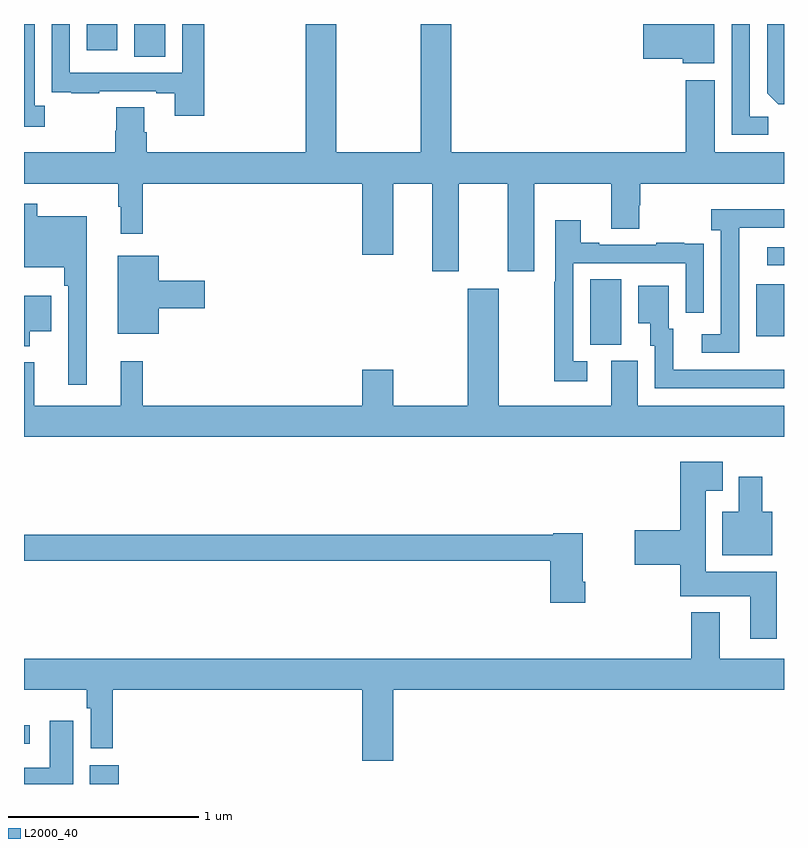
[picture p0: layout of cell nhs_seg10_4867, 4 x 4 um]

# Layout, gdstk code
import gdstk
lib = gdstk.Library(unit=1e-6, precision=1e-09)
def R(c, l, rs):  # rectangles x0, y0, x1, y1
    for r in rs: c.add(gdstk.rectangle(r[:2], r[2:], *l))
def P(c, l, *ps):  # polygons
    for p in ps: c.add(gdstk.Polygon(p, *l))
L2000_40 = (2000, 40)

nhs_seg10_4867 = lib.new_cell('nhs_seg10_4867')
R(nhs_seg10_4867, L2000_40, [(391.346,1286.5,391.499,1286.599), (391,1286.712,391.03,1286.81), (393.98,1288.813,394.144,1289.156), (394.853,1288.857,395,1289.131), (394.911,1289.229,395,1289.325), (391.58,1290.328,391.744,1290.5), (391.331,1290.363,391.492,1290.5)])
P(nhs_seg10_4867, L2000_40, [(394.917,1290.011),(394.821,1290.011),(394.821,1290.5),(394.725,1290.5),(394.725,1289.916),(394.917,1289.916)],
  [(391.108,1290.07),(391.056,1290.07),(391.056,1290.5),(391,1290.5),(391,1289.96),(391.108,1289.96)],
  [(393.289,1289.66),(393.545,1289.66),(393.545,1289.199),(393.685,1289.199),(393.685,1289.66),(394.091,1289.66),(394.091,1289.422),(394.239,1289.422),(394.239,1289.547),(394.244,1289.547),(394.244,1289.66),(395,1289.66),(395,1289.824),(394.636,1289.824),(394.636,1290.205),(394.484,1290.205),(394.484,1289.824),(393.248,1289.824),(393.248,1290.5),(393.088,1290.5),(393.088,1289.824),(392.643,1289.824),(392.643,1290.5),(392.483,1290.5),(392.483,1289.824),(391.646,1289.824),(391.646,1289.93),(391.633,1289.93),(391.633,1290.062),(391.486,1290.062),(391.486,1289.937),(391.481,1289.937),(391.481,1289.824),(391,1289.824),(391,1289.66),(391.497,1289.66),(391.497,1289.537),(391.508,1289.537),(391.508,1289.397),(391.625,1289.397),(391.625,1289.66),(392.78,1289.66),(392.78,1289.286),(392.944,1289.286),(392.944,1289.66),(393.149,1289.66),(393.149,1289.199),(393.289,1289.199)],
  [(395,1290.5),(394.911,1290.5),(394.911,1290.136),(394.97,1290.077),(395,1290.077)],
  [(394.633,1290.5),(394.26,1290.5),(394.26,1290.317),(394.466,1290.317),(394.466,1290.293),(394.633,1290.293)],
  [(391.949,1290.5),(391.833,1290.5),(391.833,1290.243),(391.242,1290.243),(391.242,1290.5),(391.146,1290.5),(391.146,1290.25),(391.147,1290.25),(391.147,1290.141),(391.249,1290.141),(391.249,1290.135),(391.397,1290.135),(391.397,1290.147),(391.697,1290.147),(391.697,1290.135),(391.793,1290.135),(391.793,1290.018),(391.949,1290.018)],
  [(391.33,1289.488),(391.069,1289.488),(391.069,1289.554),(391,1289.554),(391,1289.219),(391.213,1289.219),(391.213,1289.123),(391.233,1289.123),(391.233,1288.602),(391.33,1288.602)],
  [(394.764,1289.227),(394.765,1289.227),(394.765,1289.427),(395,1289.427),(395,1289.524),(394.617,1289.524),(394.617,1289.414),(394.668,1289.414),(394.668,1288.866),(394.566,1288.866),(394.566,1288.77),(394.764,1288.77)],
  [(393.964,1288.725),(393.891,1288.725),(393.891,1289.241),(394.482,1289.241),(394.482,1288.98),(394.578,1288.98),(394.578,1289.234),(394.577,1289.234),(394.577,1289.343),(394.475,1289.343),(394.475,1289.35),(394.327,1289.35),(394.327,1289.337),(394.027,1289.337),(394.027,1289.35),(393.931,1289.35),(393.931,1289.467),(393.795,1289.467),(393.795,1289.144),(393.79,1289.144),(393.79,1288.62),(393.964,1288.62)],
  [(391.708,1289.003),(391.951,1289.003),(391.951,1289.15),(391.708,1289.15),(391.708,1289.281),(391.493,1289.281),(391.493,1288.871),(391.708,1288.871)],
  [(395,1288.681),(394.901,1288.681),(394.901,1288.68),(394.417,1288.68),(394.417,1288.896),(394.393,1288.896),(394.393,1289.122),(394.232,1289.122),(394.232,1288.925),(394.295,1288.925),(394.295,1288.806),(394.32,1288.806),(394.32,1288.584),(395,1288.584)],
  [(391,1288.72),(391,1288.328),(395,1288.328),(395,1288.492),(394.231,1288.492),(394.231,1288.728),(394.091,1288.728),(394.091,1288.492),(393.499,1288.492),(393.499,1289.107),(393.335,1289.107),(393.335,1288.492),(392.944,1288.492),(392.944,1288.681),(392.78,1288.681),(392.78,1288.492),(391.625,1288.492),(391.625,1288.726),(391.508,1288.726),(391.508,1288.492),(391.055,1288.492),(391.055,1288.72)],
  [(391.03,1288.883),(391.144,1288.883),(391.144,1289.071),(391,1289.071),(391,1288.805),(391.03,1288.805)],
  [(394.963,1287.616),(394.588,1287.616),(394.588,1288.043),(394.678,1288.043),(394.678,1288.195),(394.454,1288.195),(394.454,1287.836),(394.215,1287.836),(394.215,1287.653),(394.454,1287.653),(394.454,1287.488),(394.823,1287.488),(394.823,1287.264),(394.963,1287.264)],
  [(394.939,1287.934),(394.885,1287.934),(394.885,1288.117),(394.763,1288.117),(394.763,1287.934),(394.676,1287.934),(394.676,1287.704),(394.939,1287.704)],
  [(393.953,1287.565),(393.94,1287.565),(393.94,1287.82),(393.786,1287.82),(393.786,1287.812),(391,1287.812),(391,1287.676),(393.77,1287.676),(393.77,1287.453),(393.953,1287.453)],
  [(391,1286.996),(391.33,1286.996),(391.33,1286.9),(391.35,1286.9),(391.35,1286.688),(391.466,1286.688),(391.466,1286.996),(392.78,1286.996),(392.78,1286.622),(392.944,1286.622),(392.944,1286.996),(395,1286.996),(395,1287.16),(394.663,1287.16),(394.663,1287.403),(394.511,1287.403),(394.511,1287.16),(391,1287.16)],
  [(391.258,1286.833),(391.136,1286.833),(391.136,1286.586),(391,1286.586),(391,1286.5),(391.258,1286.5)])

lib.write_gds('nhs_seg10_4867.gds')
